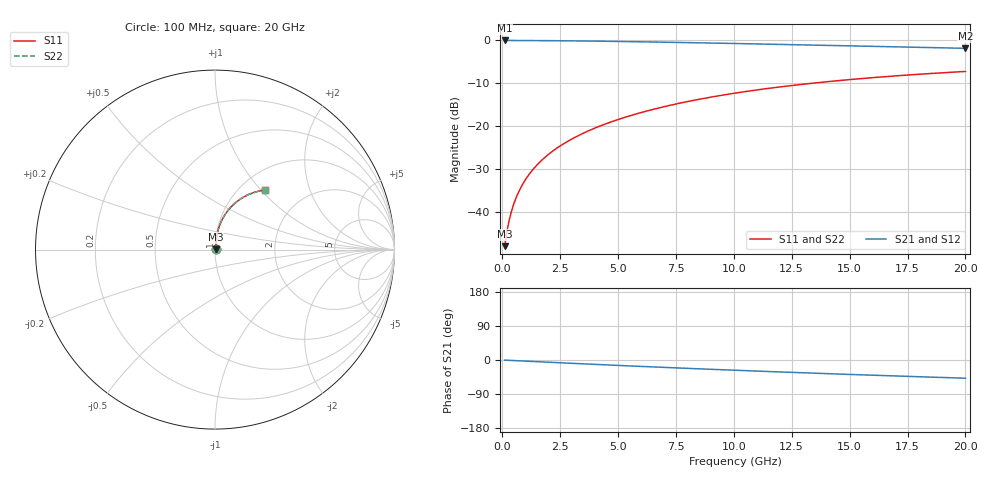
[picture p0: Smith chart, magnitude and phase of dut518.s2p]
! Touchstone file exported from HFSS 2024.1.0
!  File:  C:/UserFiles/LocalFiles/RDL_TSV_Batchsim/temp_RDL_bottom_518_1779687994.aedt
!  Generated:  01:49:08 PM May 25, 2026
!  Design:  RDL_bottom
!  Project:  temp_RDL_bottom_518_1779687994
!  Setup:  Setup1
!  Solution:  Sweep
! Variables:
!  dtsv = 10.80580581um
!  hbump = 3um
!  htsv = 97.31um
!  ldown = 658.81um
!  lrdl = 100um
!  p = 40
!  p1 = 56.66um
!  rhole = 1um
!  t = 450um
!  tdown = 3.67um
!  trdl = 3.915915916um
!  wdown = 21.62um
!  wrdl = 20um
# GHz S MA R 50.000000
! Terminal data exported
! Port[1] = RDL1_T1
! Port[2] = RDL1_T2
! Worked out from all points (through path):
!   200 points, 100 MHz to 20 GHz, reference 50 ohm
!   highest |S21| = -0.03 dB at 100 MHz (marker M1); lowest = -1.9 dB at 20 GHz (marker M2)
!   group delay of S21, straight-line fit = 6.64 ps
!   lowest |S11| = -47.9 dB at 100 MHz (marker M3), VSWR 1.01, Z = 50.3 + j0.255 ohm
!   |S11| at or under -10 dB: start of sweep to 13.35 GHz
!   |S22| runs from -47.9 to -7.2 dB; largest |S21 - S12| = 5e-15
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0.1  0.004025 39.1  0.9969 -0.3  0.9969 -0.3  0.004025 39.1
! Gamma 0 0 0 0
! Port Impedance 50 0 50 0
0.2  0.005973 56.7  0.9967 -0.6  0.9967 -0.6  0.005973 56.7
0.3  0.008132 64.9  0.9965 -0.9  0.9965 -0.9  0.008132 64.9
0.4  0.01034 69.6  0.9963 -1.2  0.9963 -1.2  0.01034 69.6
0.5  0.01256 72.7  0.9961 -1.5  0.9961 -1.5  0.01256 72.7
0.6  0.0148 74.9  0.9959 -1.8  0.9959 -1.8  0.0148 74.9
0.8  0.01933 77.8  0.9955 -2.4  0.9955 -2.4  0.01933 77.8
1.1  0.02621 80.3  0.9948 -3.3  0.9948 -3.3  0.02621 80.3
1.5  0.03549 81.8  0.9936 -4.4  0.9936 -4.4  0.03549 81.8
1.8  0.04251 82.4  0.9925 -5.3  0.9925 -5.3  0.04251 82.4
2.1  0.04958 82.7  0.9912 -6.2  0.9912 -6.2  0.04958 82.7
2.7  0.06384 82.8  0.988 -7.9  0.988 -7.9  0.06384 82.8
3.5  0.08309 82.3  0.9829 -10.2  0.9829 -10.2  0.08309 82.3
4.2  0.1001 81.5  0.9777 -12.1  0.9777 -12.1  0.1001 81.5
5  0.1198 80.4  0.9709 -14.3  0.9709 -14.3  0.1198 80.4
6.8  0.1644 77.2  0.9538 -19.1  0.9538 -19.1  0.1644 77.2
8.4  0.2037 74.0  0.937 -23.1  0.937 -23.1  0.2037 74.0
10.1  0.2442 70.3  0.9182 -27.2  0.9182 -27.2  0.2442 70.3
11.7  0.2807 66.8  0.9002 -30.9  0.9002 -30.9  0.2807 66.8
13.4  0.3172 63.1  0.8808 -34.7  0.8808 -34.7  0.3172 63.1
16.7  0.3808 56.2  0.8435 -41.6  0.8435 -41.6  0.3808 56.2
20  0.4345 49.8  0.8074 -48.1  0.8074 -48.1  0.4345 49.7
